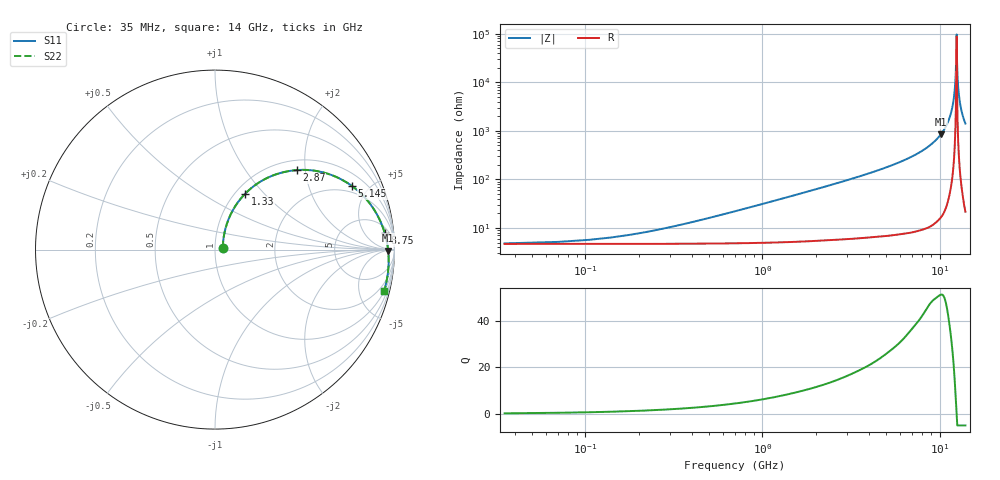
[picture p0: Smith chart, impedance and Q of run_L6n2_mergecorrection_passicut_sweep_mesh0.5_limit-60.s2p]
#  Hz  S  RI  R  50
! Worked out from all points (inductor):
!   400 points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, 35 MHz to 14 GHz, reference 50 ohm
!   read as one part in series: L = 4.87 nH near 490 MHz
!   highest Q = 51.4 at 10.19 GHz (marker M1), where L = 13.2 nH
!   self-resonance near 12.46 GHz
!   S11 on the Smith chart (normalised r, x): 35 MHz: 1.09, +0.02; 1.33 GHz: 1.11, +0.78; 2.87 GHz: 1.21, +1.80; 5.145 GHz: 1.61, +3.91; 8.75 GHz: 9, +16; 14 GHz: 1.08, -8.20
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3.5e7  0.0433 0.00917  0.9537 -0.0104  0.9537 -0.0104  0.0433 0.00917
5.6e8  0.0662 0.1439  0.9246 -0.1611  0.9246 -0.1611  0.0663 0.1439
1.33e9  0.1662 0.3096  0.8138 -0.3346  0.8138 -0.3346  0.1662 0.3096
2.38e9  0.364 0.4268  0.6137 -0.4609  0.6137 -0.4609  0.3639 0.4268
2.87e9  0.455 0.4429  0.5214 -0.482  0.5214 -0.482  0.4549 0.4429
4.69e9  0.7177 0.3836  0.2563 -0.4417  0.2563 -0.4417  0.7176 0.3836
5.145e9  0.7636 0.354  0.2098 -0.4169  0.2098 -0.4169  0.7635 0.354
7.035e9  0.8908 0.2158  0.0803 -0.2996  0.0803 -0.2996  0.8907 0.2158
8.75e9  0.9459 0.0916  0.0228 -0.1946  0.0228 -0.1946  0.9458 0.0916
9.345e9  0.9562 0.0506  0.0117 -0.1604  0.0117 -0.1604  0.9562 0.0506
1.0185e10  0.9648 -0.00514  0.00164 -0.1142  0.00164 -0.1142  0.9648 -0.00518
1.169e10  0.9665 -0.099  -0.00258 -0.0376  -0.00258 -0.0376  0.9664 -0.099
1.204e10  0.9646 -0.1198  -0.00152 -0.0209  -0.00152 -0.0209  0.9646 -0.1198
1.225e10  0.9632 -0.132  -0.000533 -0.0111  -0.000533 -0.0111  0.9631 -0.132
1.239e10  0.9621 -0.1401  0.000275 -0.00455  0.000275 -0.00455  0.962 -0.1401
1.2495e10  0.9612 -0.1461  0.00096 0.000287  0.000959 0.000286  0.9612 -0.1461
1.253e10  0.9609 -0.1481  0.0012 0.00189  0.0012 0.00189  0.9608 -0.1481
1.26e10  0.9603 -0.1521  0.00171 0.00509  0.00171 0.00509  0.9602 -0.1521
1.2705e10  0.9593 -0.1581  0.00252 0.00985  0.00252 0.00985  0.9592 -0.1581
1.2845e10  0.9579 -0.166  0.0037 0.0161  0.0037 0.0161  0.9578 -0.166
1.33e10  0.9525 -0.1914  0.00818 0.036  0.00818 0.036  0.9525 -0.1913
1.4e10  0.9419 -0.229  0.0168 0.0655  0.0168 0.0655  0.9419 -0.229
